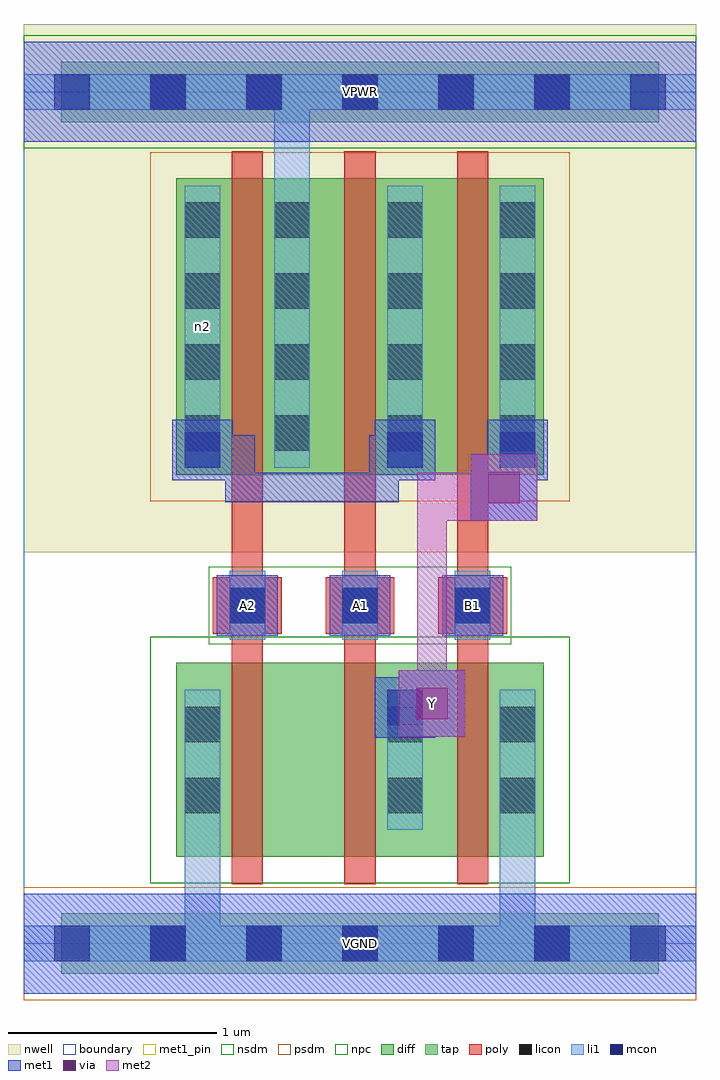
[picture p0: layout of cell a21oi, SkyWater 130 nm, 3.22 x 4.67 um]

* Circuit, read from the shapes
.subckt a21oi A1 A2 B1 VGND VPWR Y n2
XM1 n1 A2 VGND VGND sky130_fd_pr__nfet_01v8 w=0.93 l=0.15
XM2 Y A1 n1 VGND sky130_fd_pr__nfet_01v8 w=0.93 l=0.15
XM3 VGND B1 Y VGND sky130_fd_pr__nfet_01v8 w=0.93 l=0.15
XM4 VPWR A2 n2 VPWR sky130_fd_pr__pfet_01v8 w=1.42 l=0.15
XM5 n2 A1 VPWR VPWR sky130_fd_pr__pfet_01v8 w=1.42 l=0.15
XM6 Y B1 n2 VPWR sky130_fd_pr__pfet_01v8 w=1.42 l=0.15
.ends

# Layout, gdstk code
import gdstk
lib = gdstk.Library(unit=1e-6, precision=1e-09)
def R(c, l, rs):  # rectangles x0, y0, x1, y1
    for r in rs: c.add(gdstk.rectangle(r[:2], r[2:], *l))
def A(c, l, x, y, w, h, nx, ny, dx, dy):  # array of equal rectangles
    R(c, l, [(x+i*dx, y+j*dy, x+i*dx+w, y+j*dy+h) for i in range(nx) for j in range(ny)])
nwell = (64, 20)
diff = (65, 20)
tap = (65, 44)
poly = (66, 20)
licon = (66, 44)
li1 = (67, 20)
mcon = (67, 44)
met1_pin = (68, 16)
met1 = (68, 20)
via = (68, 44)
met2 = (69, 20)
nsdm = (93, 44)
psdm = (94, 20)
npc = (95, 20)
boundary = (235, 4)

a21oi = lib.new_cell('a21oi')
R(a21oi, nwell, [(0,1.875,3.22,4.405)])
R(a21oi, diff, [(0.73,0.415,2.49,1.345), (0.73,2.245,2.49,3.665)])
R(a21oi, tap, [(0.18,-0.145,3.04,0.145), (0.18,3.935,3.04,4.225)])
A(a21oi, poly, 0.995, 0.285, 0.15, 3.51, 3, 1, 0.54, 0)
A(a21oi, poly, 0.905, 1.485, 0.33, 0.27, 3, 1, 0.54, 0)
A(a21oi, licon, 0.605, -0.085, 0.17, 0.17, 5, 2, 0.46, 4.08)
A(a21oi, licon, 0.985, 1.535, 0.17, 0.17, 3, 1, 0.54, 0)
A(a21oi, licon, 0.77, 2.36, 0.17, 0.17, 1, 4, 0, 0.34)
A(a21oi, licon, 1.2, 2.36, 0.17, 0.17, 3, 4, 0.54, 0.34)
R(a21oi, licon, [(0.77,0.625,0.94,0.795), (1.74,0.625,1.91,0.795), (2.28,0.625,2.45,0.795), (0.77,0.965,0.94,1.135), (1.74,0.965,1.91,1.135), (2.28,0.965,2.45,1.135)])
A(a21oi, li1, 0.985, 1.455, 0.17, 0.33, 3, 1, 0.54, 0)
A(a21oi, li1, 1.2, 2.28, 0.17, 1.35, 3, 1, 0.54, 0)
R(a21oi, li1, [(0,-0.085,3.22,0.085), (0.77,-0.085,0.94,1.215), (2.28,-0.085,2.45,1.215), (0.77,0.545,0.94,1.215), (1.74,0.545,1.91,1.215), (2.28,0.545,2.45,1.215), (0.77,2.28,0.94,3.63), (1.2,2.28,1.37,4.165), (0,3.995,3.22,4.165)])
A(a21oi, mcon, 0.145, -0.085, 0.17, 0.17, 7, 2, 0.46, 4.08)
A(a21oi, mcon, 0.985, 1.535, 0.17, 0.17, 3, 1, 0.54, 0)
R(a21oi, mcon, [(1.74,1.045,1.91,1.215), (0.77,2.28,0.94,2.45), (1.74,2.28,1.91,2.45), (2.28,2.28,2.45,2.45)])
A(a21oi, met1_pin, 0.925, 1.475, 0.29, 0.29, 3, 1, 0.54, 0)
R(a21oi, met1_pin, [(0,-0.24,3.22,0.24), (1.795,0.99,2.115,1.31), (0,3.84,3.22,4.32)])
A(a21oi, met1, 0.925, 1.475, 0.29, 0.29, 3, 1, 0.54, 0)
R(a21oi, met1, [(0,-0.24,3.22,0.24), (1.68,0.985,1.97,1.275), (1.795,0.99,2.115,1.31), (1.755,1.06,2.025,1.2), (1.885,1.06,2.025,1.22), (2.14,2.025,2.46,2.345), (0.965,2.115,1.105,2.435), (0.965,2.115,1.795,2.255), (1.655,2.115,1.795,2.435), (2.23,2.115,2.37,2.435), (0.71,2.22,1,2.51), (1.68,2.22,1.97,2.51), (2.22,2.22,2.51,2.51), (0.785,2.295,1.105,2.435), (1.655,2.295,1.895,2.435), (2.23,2.295,2.435,2.435), (0,3.84,3.22,4.32)])
R(a21oi, via, [(1.88,1.075,2.03,1.225), (2.225,2.11,2.375,2.26)])
R(a21oi, met2, [(1.795,0.99,2.115,1.31), (1.885,1.08,2.025,2.255), (2.025,2.025,2.14,2.255), (2.14,2.025,2.46,2.345), (1.885,2.115,2.37,2.255)])
R(a21oi, nsdm, [(0.605,0.29,2.615,1.47), (0,3.81,3.22,4.35)])
R(a21oi, psdm, [(0,-0.27,3.22,0.27), (0.605,2.12,2.615,3.79)])
R(a21oi, npc, [(0.885,1.435,2.335,1.805)])
R(a21oi, boundary, [(0,0,3.22,4.08)])
a21oi.add(gdstk.Label('n2', (0.855,2.955), layer=67, texttype=5))
a21oi.add(gdstk.Label('A1', (1.61,1.62), layer=68, texttype=5))
a21oi.add(gdstk.Label('A2', (1.07,1.62), layer=68, texttype=5))
a21oi.add(gdstk.Label('B1', (2.15,1.62), layer=68, texttype=5))
a21oi.add(gdstk.Label('Y', (1.955,1.15), layer=68, texttype=5))
a21oi.add(gdstk.Label('VPWR', (1.61,4.08), layer=68, texttype=5))
a21oi.add(gdstk.Label('VGND', (1.61,0), layer=68, texttype=5))
a21oi.add(gdstk.Label('A1', (1.61,1.62), layer=68, texttype=16))
a21oi.add(gdstk.Label('A2', (1.07,1.62), layer=68, texttype=16))
a21oi.add(gdstk.Label('B1', (2.15,1.62), layer=68, texttype=16))
a21oi.add(gdstk.Label('Y', (1.955,1.15), layer=68, texttype=16))
a21oi.add(gdstk.Label('VPWR', (1.61,4.08), layer=68, texttype=16))
a21oi.add(gdstk.Label('VGND', (1.61,0), layer=68, texttype=16))

lib.write_gds('a21oi.gds')
